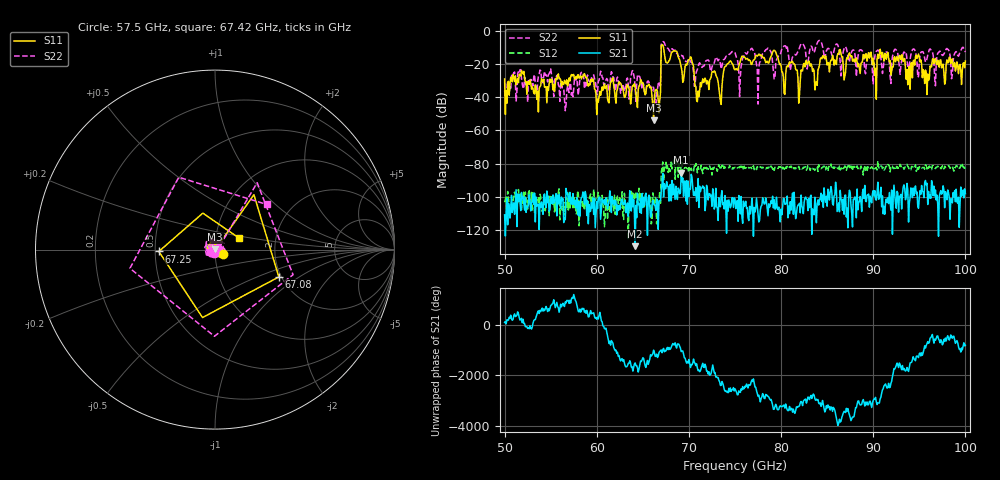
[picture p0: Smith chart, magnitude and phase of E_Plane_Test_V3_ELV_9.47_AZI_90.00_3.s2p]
! 11/26/2026 4:01:03 PM
! C:\ANRITSUVNA\TEMP\TEMP.S2P
! CHANNEL.1
! TR.MEASUREMENT
! RAW.DATA
# HZ S RI R 50.0
! FREQ.HZ  S11RE  S11IM  S21RE  S21IM  S12RE  S12IM  S22RE  S22IM
!; PortSelection: Port_12
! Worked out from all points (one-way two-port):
!   601 points, 50 GHz to 100 GHz, reference 50 ohm
!   highest |S21| = -85.61 dB at 69.17 GHz (marker M1); lowest = -130.0 dB at 64.17 GHz (marker M2)
!   lowest |S11| = -54.0 dB at 66.17 GHz (marker M3), VSWR 1.00, Z = 50.1 + j0.145 ohm
!   |S11| at or under -10 dB: start of sweep to 67 GHz; 67.25 GHz to end of sweep
!   |S22| runs from -48.1 to -5.6 dB; largest |S21 - S12| = 0.00017
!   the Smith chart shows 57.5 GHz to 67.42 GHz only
!   S11 on the Smith chart (normalised r, x): 57.5 GHz: 1.09, -0.05; 67.08 GHz: 1.94, -0.69; 67.25 GHz: 0.52, -0.01; 67.42 GHz: 1.29, +0.17
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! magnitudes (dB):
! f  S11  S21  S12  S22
! 50 GHz  -29.0  -111.1  -103.4  -35.9
! 51.67 GHz  -26.3  -103.1  -103.0  -23.3
! 57.5 GHz  -26.2  -104.2  -100.5  -34.7
! 58.42 GHz  -27.1  -100.3  -105.8  -24.7
! 60.17 GHz  -42.9  -101.6  -97.4  -30.4
! 64.17 GHz  -33.7  -130.0  -98.0  -33.8
! 66.17 GHz  -54.0  -104.5  -100.8  -34.0
! 66.67 GHz  -41.5  -119.8  -107.1  -31.7
! 67.08 GHz  -8.2  -92.3  -82.4  -6.8
! 67.25 GHz  -10.1  -100.2  -90.8  -6.3
! 67.42 GHz  -16.6  -95.3  -82.4  -8.3
! 69.17 GHz  -21.8  -85.6  -79.3  -14.6
! 70.25 GHz  -15.9  -86.5  -82.9  -18.8
! 70.92 GHz  -42.6  -97.8  -85.6  -23.0
! 75 GHz  -23.3  -101.4  -82.3  -13.0
! 79.25 GHz  -11.5  -101.9  -84.2  -28.8
! 80.25 GHz  -27.8  -101.1  -82.5  -9.3
! 83.42 GHz  -24.3  -107.5  -82.9  -10.8
! 91.67 GHz  -16.7  -104.2  -80.8  -15.2
! 94.83 GHz  -15.1  -106.0  -81.6  -27.9
! 95.83 GHz  -38.3  -92.0  -83.3  -16.5
! 100 GHz  -18.0  -98.3  -82.4  -12.6
